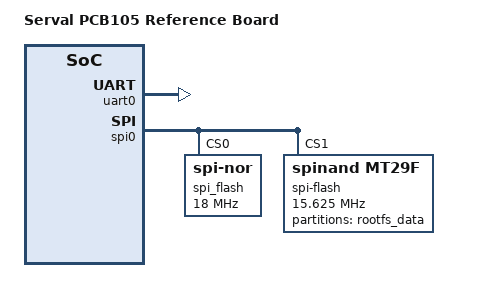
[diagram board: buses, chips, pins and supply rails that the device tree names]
// SPDX-License-Identifier: (GPL-2.0+ OR MIT)
/*
 * Copyright (c) 2018 Microsemi Corporation
 */

/dts-v1/;
#include "serval.dtsi"

/ {
	model = "Serval PCB105 Reference Board";
	compatible = "mscc,serval-pcb105", "mscc,serval";

	aliases {
		spi0 = &spi0;
		serial0 = &uart0;
	};

	chosen {
		stdout-path = "serial0:115200n8";
	};
};

&uart0 {
	status = "okay";
};

&spi0 {
	status = "okay";
	spi-flash@0 {
		label = "spi_flash";
		compatible = "jedec,spi-nor";
		spi-max-frequency = <18000000>; /* input clock */
		reg = <0>; /* CS0 */
	};
	spi-flash@1 {
		compatible = "spinand,mt29f";
		pinctrl-0 = <&cs1_pins>;
		pinctrl-names = "default";
		spi-max-frequency = <15625000>;
		reg = <1>; /* CS1 */
		partitions {
			compatible = "fixed-partitions";
			#address-cells = <1>;
			#size-cells = <1>;
			/* 128MiB */
			partition@0 {
				    label = "rootfs_data";
				    reg = <0x0000000 0x08000000>;
			};
		};
	};
};
